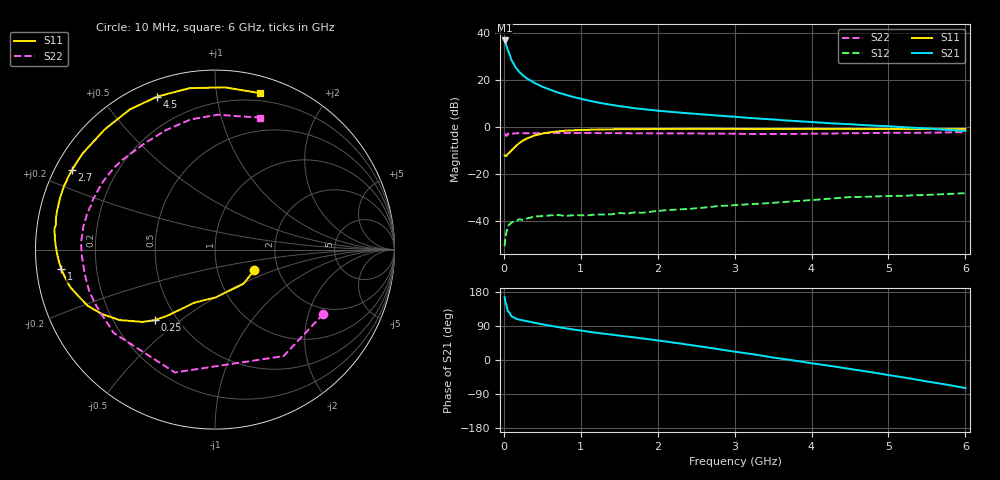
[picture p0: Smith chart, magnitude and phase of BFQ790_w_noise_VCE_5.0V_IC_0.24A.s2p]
! Infineon Technologies  Discrete & RF Semiconductors
! BFQ790
! VCE =  5.0 V,  IC = 0.24 A
! Common Emitter S-Parameters:  May 2015
# GHz  S  MA  R  50
!  f  S11  S21  S12  S22
! GHz  MAG  ANG  MAG  ANG  MAG  ANG  MAG  ANG
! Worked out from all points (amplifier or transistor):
!   77 points, 10 MHz to 6 GHz, reference 50 ohm
!   highest |S21| = 36.9 dB at 10 MHz (marker M1)
!   |S21| within 3 dB of that: start of sweep to 40.55 MHz
!   unconditionally stable (mu >= 1): start of sweep to 16.7 MHz; 199 MHz to end of sweep
!   at 130 MHz: K = 0.89, MSG = 33.6 dB, |S12| = -40.4 dB
!   at 2.2 GHz: K = 1.32, MAG = 17.4 dB, |S12| = -35.2 dB
!   at 6 GHz: K = 1.13, MAG = 11.1 dB, |S12| = -28.2 dB
!   lowest NFmin = 3.64 dB at 1.5 GHz
!   S11 on the Smith chart (normalised r, x): 10 MHz: 1.50, -0.37; 250 MHz: 0.38, -0.41; 1 GHz: 0.07, -0.06; 2.7 GHz: 0.05, +0.26; 4.5 GHz: 0.07, +0.69; 6 GHz: 0.13, +1.32
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0.01  0.2473 -27.9  69.6 165.7  0.0029 47.6  0.7017 -30.7
0.02  0.2477 -50.3  64.04 152.9  0.0043 46.1  0.7057 -57.2
0.05  0.2663 -89.2  43.94 129.4  0.0077 34.7  0.7201 -108.1
0.1  0.3185 -111.5  26.39 115.0  0.0093 21.8  0.7309 -140.6
0.15  0.3838 -119.9  18.9 109.6  0.0097 20.6  0.7318 -154.2
0.2  0.4529 -125.7  14.94 106.6  0.0109 20.9  0.7378 -161.5
0.25  0.516 -130.4  12.5 104.3  0.0105 18.7  0.7375 -166.2
0.3  0.5697 -135.0  10.79 102.3  0.0113 16.6  0.7378 -169.9
0.4  0.6613 -143.6  8.647 98.1  0.0124 14.2  0.7404 -174.9
0.5  0.7244 -150.2  7.226 94.2  0.0127 10.8  0.7436 -178.6
0.7  0.8045 -161.3  5.444 87.0  0.0134 15.2  0.7462 175.9
0.9  0.8496 -169.5  4.368 80.5  0.0132 11.0  0.7441 172.2
1  0.8638 -172.7  3.996 77.8  0.0132 11.7  0.7445 170.3
1.1  0.8729 -176.0  3.66 74.8  0.0132 11.6  0.7438 168.6
1.5  0.8961 174.8  2.788 64.5  0.0147 13.9  0.7378 163.0
2.1  0.9075 163.6  2.153 48.9  0.0168 14.4  0.7311 154.2
2.7  0.9111 150.9  1.792 31.4  0.02 9.6  0.7241 142.6
3.1  0.9079 141.6  1.603 19.2  0.0222 5.6  0.7143 133.6
4.1  0.9108 119.2  1.245 -11.4  0.0286 -8.5  0.7206 110.0
4.5  0.9111 110.7  1.147 -23.7  0.0322 -15.6  0.7379 100.6
5.1  0.9061 96.5  1.013 -42.9  0.0341 -28.1  0.7509 86.6
6  0.9074 73.8  0.827 -74.1  0.039 -48.7  0.7783 71.0
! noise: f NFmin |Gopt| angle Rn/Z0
0.45  6.01  0.5  143  0.58
0.9  4.24  0.62  168  0.19
1.5  3.64  0.73  -172  0.1
1.8  3.67  0.73  -166  0.12
2.6  3.87  0.76  -151  0.31
3.5  4.37  0.85  -134  0.65
